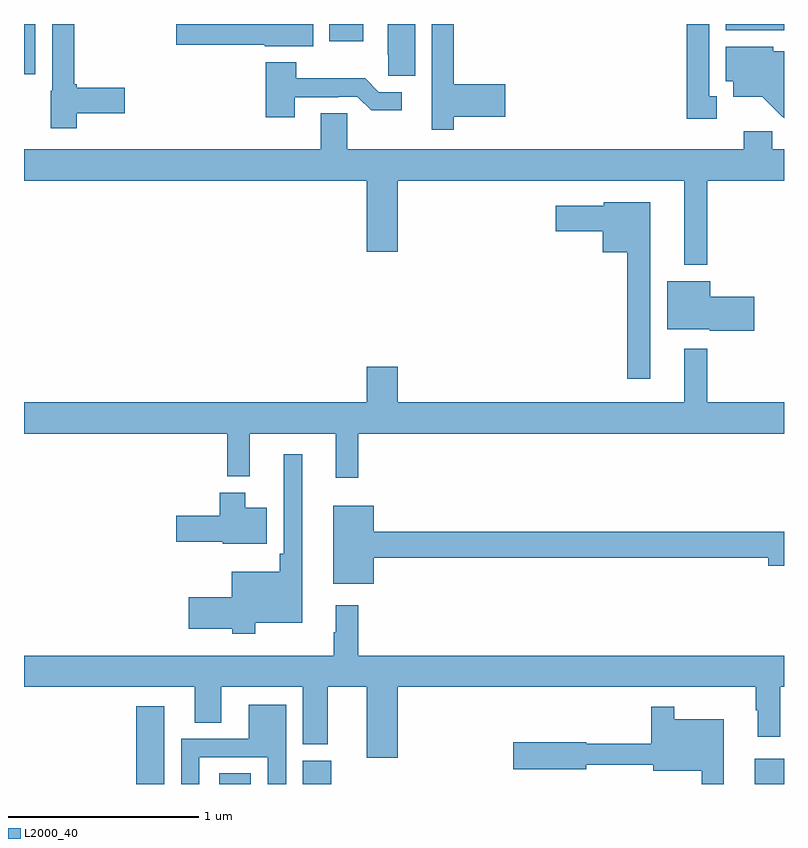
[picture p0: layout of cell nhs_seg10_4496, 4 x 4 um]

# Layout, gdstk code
import gdstk
lib = gdstk.Library(unit=1e-6, precision=1e-09)
def R(c, l, rs):  # rectangles x0, y0, x1, y1
    for r in rs: c.add(gdstk.rectangle(r[:2], r[2:], *l))
def P(c, l, *ps):  # polygons
    for p in ps: c.add(gdstk.Polygon(p, *l))
L2000_40 = (2000, 40)

nhs_seg10_4496 = lib.new_cell('nhs_seg10_4496')
R(nhs_seg10_4496, L2000_40, [(367.592,1270.5,367.738,1270.909), (368.027,1270.5,368.194,1270.556), (368.468,1270.5,368.617,1270.623), (370.847,1270.5,371,1270.633), (367,1274.235,367.06,1274.5), (368.607,1274.408,368.785,1274.5), (370.694,1274.468,371,1274.5)])
P(nhs_seg10_4496, L2000_40, [(368.522,1274.5),(367.8,1274.5),(367.8,1274.39),(368.268,1274.39),(368.268,1274.384),(368.522,1274.384)],
  [(369.263,1274.012),(369.532,1274.012),(369.532,1274.183),(369.263,1274.183),(369.263,1274.5),(369.147,1274.5),(369.147,1274.166),(369.146,1274.166),(369.146,1273.944),(369.263,1273.944)],
  [(369.058,1274.5),(368.915,1274.5),(368.915,1274.338),(368.916,1274.338),(368.916,1274.227),(369.058,1274.227)],
  [(367.278,1274.03),(367.531,1274.03),(367.531,1274.165),(367.278,1274.165),(367.278,1274.183),(367.265,1274.183),(367.265,1274.5),(367.149,1274.5),(367.149,1274.148),(367.142,1274.148),(367.142,1273.952),(367.278,1273.952)],
  [(370.645,1274.121),(370.606,1274.121),(370.606,1274.5),(370.488,1274.5),(370.488,1274.001),(370.645,1274.001)],
  [(371,1274.356),(370.944,1274.356),(370.944,1274.38),(370.694,1274.38),(370.694,1274.198),(370.733,1274.198),(370.733,1274.117),(370.885,1274.117),(370.988,1274.015),(371,1274.003)],
  [(368.425,1274.115),(368.654,1274.115),(368.654,1274.118),(368.754,1274.118),(368.827,1274.045),(368.989,1274.045),(368.989,1274.142),(368.868,1274.142),(368.795,1274.215),(368.433,1274.215),(368.433,1274.299),(368.273,1274.299),(368.273,1274.01),(368.425,1274.01)],
  [(370.597,1273.676),(371,1273.676),(371,1273.84),(370.938,1273.84),(370.938,1273.936),(370.787,1273.936),(370.787,1273.84),(368.7,1273.84),(368.7,1274.03),(368.561,1274.03),(368.561,1273.84),(367,1273.84),(367,1273.676),(368.804,1273.676),(368.804,1273.302),(368.968,1273.302),(368.968,1273.676),(370.475,1273.676),(370.475,1273.232),(370.597,1273.232)],
  [(370.297,1273.561),(370.05,1273.561),(370.05,1273.543),(369.798,1273.543),(369.798,1273.409),(370.046,1273.409),(370.046,1273.298),(370.176,1273.298),(370.176,1272.633),(370.297,1272.633)],
  [(370.843,1273.064),(370.612,1273.064),(370.612,1273.147),(370.385,1273.147),(370.385,1272.893),(370.608,1272.893),(370.608,1272.886),(370.843,1272.886)],
  [(371,1272.508),(370.597,1272.508),(370.597,1272.79),(370.475,1272.79),(370.475,1272.508),(368.968,1272.508),(368.968,1272.697),(368.804,1272.697),(368.804,1272.508),(367,1272.508),(367,1272.344),(368.071,1272.344),(368.071,1272.119),(368.189,1272.119),(368.189,1272.344),(368.642,1272.344),(368.642,1272.111),(368.759,1272.111),(368.759,1272.344),(371,1272.344)],
  [(368.218,1271.348),(368.464,1271.348),(368.464,1272.235),(368.367,1272.235),(368.367,1271.713),(368.347,1271.713),(368.347,1271.617),(368.093,1271.617),(368.093,1271.484),(367.866,1271.484),(367.866,1271.318),(368.097,1271.318),(368.097,1271.291),(368.218,1271.291)],
  [(368.278,1271.953),(368.164,1271.953),(368.164,1272.034),(368.03,1272.034),(368.03,1271.913),(367.8,1271.913),(367.8,1271.776),(368.046,1271.776),(368.046,1271.765),(368.278,1271.765)],
  [(368.842,1271.692),(370.916,1271.692),(370.916,1271.65),(371,1271.65),(371,1271.828),(368.842,1271.828),(368.842,1271.965),(368.627,1271.965),(368.627,1271.555),(368.842,1271.555)],
  [(368.968,1271.012),(370.851,1271.012),(370.851,1270.889),(370.862,1270.889),(370.862,1270.749),(370.979,1270.749),(370.979,1271.012),(371,1271.012),(371,1271.176),(368.759,1271.176),(368.759,1271.44),(368.642,1271.44),(368.642,1271.3),(368.631,1271.3),(368.631,1271.176),(367,1271.176),(367,1271.012),(367.898,1271.012),(367.898,1270.822),(368.038,1270.822),(368.038,1271.012),(368.468,1271.012),(368.468,1270.708),(368.599,1270.708),(368.599,1271.012),(368.804,1271.012),(368.804,1270.638),(368.968,1270.638)],
  [(367.923,1270.641),(368.283,1270.641),(368.283,1270.5),(368.379,1270.5),(368.379,1270.918),(368.183,1270.918),(368.183,1270.737),(367.827,1270.737),(367.827,1270.5),(367.923,1270.5)],
  [(370.684,1270.84),(370.423,1270.84),(370.423,1270.906),(370.302,1270.906),(370.302,1270.711),(369.96,1270.711),(369.96,1270.719),(369.576,1270.719),(369.576,1270.577),(369.96,1270.577),(369.96,1270.601),(370.313,1270.601),(370.313,1270.571),(370.567,1270.571),(370.567,1270.5),(370.684,1270.5)])

lib.write_gds('nhs_seg10_4496.gds')
